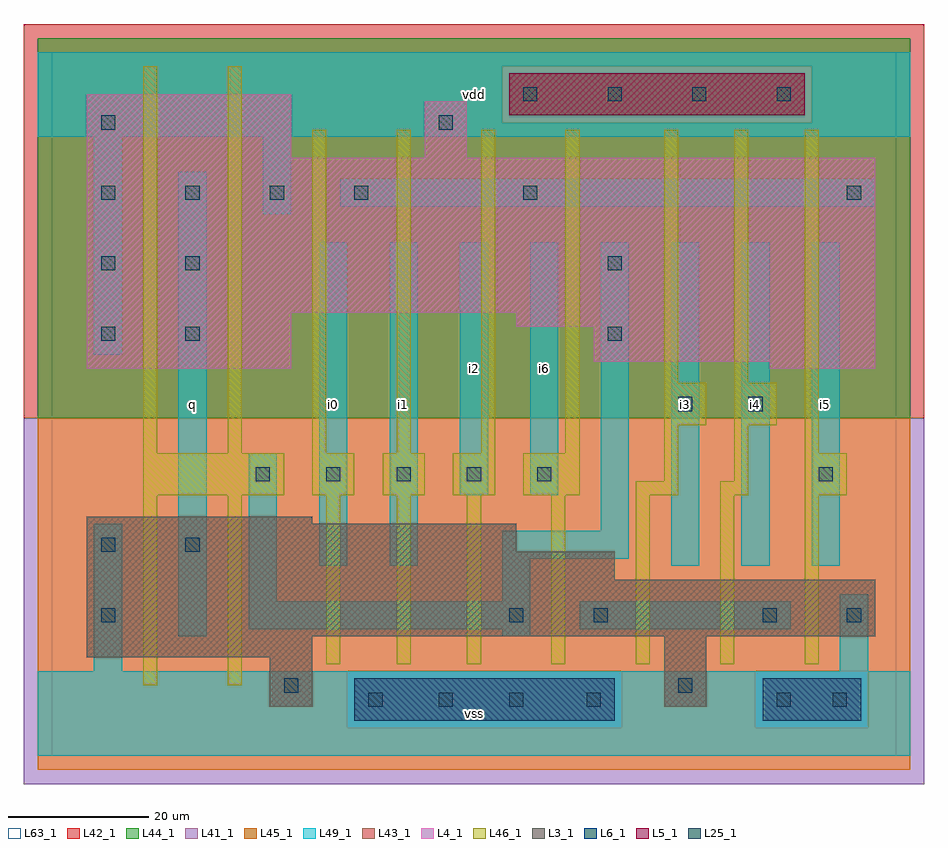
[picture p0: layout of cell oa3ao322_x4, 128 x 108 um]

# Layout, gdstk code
import gdstk
lib = gdstk.Library(unit=1e-6, precision=1e-09)
def R(c, l, rs):  # rectangles x0, y0, x1, y1
    for r in rs: c.add(gdstk.rectangle(r[:2], r[2:], *l))
def A(c, l, x, y, w, h, nx, ny, dx, dy):  # array of equal rectangles
    R(c, l, [(x+i*dx, y+j*dy, x+i*dx+w, y+j*dy+h) for i in range(nx) for j in range(ny)])
L3_1 = (3, 1)
L4_1 = (4, 1)
L5_1 = (5, 1)
L6_1 = (6, 1)
L25_1 = (25, 1)
L41_1 = (41, 1)
L42_1 = (42, 1)
L43_1 = (43, 1)
L44_1 = (44, 1)
L45_1 = (45, 1)
L46_1 = (46, 1)
L49_1 = (49, 1)
L63_1 = (63, 1)

oa3ao322_x4 = lib.new_cell('oa3ao322_x4')
R(oa3ao322_x4, L3_1, [(31,7,37,14), (87,7,93,17), (5,14,37,17), (5,17,117,25), (5,25,80,29), (5,29,66,33), (5,33,37,34)])
R(oa3ao322_x4, L4_1, [(5,55,34,63), (102,55,117,56), (77,56,117,61), (66,61,117,63), (5,63,117,85), (5,85,34,94), (53,85,59,93)])
R(oa3ao322_x4, L5_1, [(65,91,107,97)])
R(oa3ao322_x4, L6_1, [(43,5,80,11), (43,5,80,11), (101,5,115,11), (101,5,115,11)])
A(oa3ao322_x4, L25_1, 45, 7, 2, 2, 3, 1, 10, 0)
A(oa3ao322_x4, L25_1, 29, 39, 2, 2, 5, 1, 10, 0)
A(oa3ao322_x4, L25_1, 7, 79, 2, 2, 4, 1, 12, 0)
A(oa3ao322_x4, L25_1, 67, 93, 2, 2, 4, 1, 12, 0)
R(oa3ao322_x4, L25_1, [(76,7,78,9), (103,7,105,9), (111,7,113,9), (33,9,35,11), (89,9,91,11), (7,19,9,21), (65,19,67,21), (77,19,79,21), (101,19,103,21), (113,19,115,21), (7,29,9,31), (19,29,21,31), (109,39,111,41), (89,49,91,51), (99,49,101,51), (7,59,9,61), (19,59,21,61), (79,59,81,61), (7,69,9,71), (19,69,21,71), (79,69,81,71), (67,79,69,81), (113,79,115,81), (7,89,9,91), (55,89,57,91)])
R(oa3ao322_x4, L41_1, [(-4,-4,124,48)])
R(oa3ao322_x4, L42_1, [(-4,48,124,104)])
R(oa3ao322_x4, L43_1, [(43,5,80,11), (101,5,115,11), (31,7,37,14), (87,7,93,17), (5,14,37,17), (5,17,117,25), (5,25,80,29), (5,29,66,33), (5,33,37,34), (5,55,34,63), (102,55,117,56), (77,56,117,61), (66,61,117,63), (5,63,117,85), (5,85,34,94), (53,85,59,93), (65,91,107,97)])
R(oa3ao322_x4, L44_1, [(42,4,81,12), (100,4,116,12), (-2,48,122,90), (-2,90,64,98), (108,90,122,98), (-2,98,122,102)])
R(oa3ao322_x4, L45_1, [(-2,-2,122,4), (-2,4,42,12), (81,4,100,12), (116,4,122,12), (-2,12,122,48), (64,90,108,98)])
A(oa3ao322_x4, L46_1, 39, 13, 2, 24, 3, 1, 10, 0)
A(oa3ao322_x4, L46_1, 71, 13, 2, 24, 4, 1, 12, 0)
A(oa3ao322_x4, L46_1, 37, 37, 6, 6, 3, 1, 10, 0)
A(oa3ao322_x4, L46_1, 37, 43, 2, 46, 4, 1, 12, 0)
R(oa3ao322_x4, L46_1, [(13,10,15,37), (25,10,27,37), (13,37,33,43), (67,37,75,43), (83,37,89,39), (95,37,99,39), (107,37,113,43), (87,39,89,47), (97,39,99,47), (13,43,15,98), (25,43,27,98), (107,43,109,89), (87,47,93,53), (97,47,103,53), (87,53,89,89), (97,53,99,89)])
A(oa3ao322_x4, L49_1, 88, 27, 4, 46, 3, 1, 10, 0)
R(oa3ao322_x4, L49_1, [(-2,0,122,12), (6,12,10,33), (112,12,116,23), (18,17,22,83), (64,17,68,18), (28,18,68,22), (75,18,105,22), (28,22,32,43), (64,22,68,28), (38,27,42,73), (48,27,52,73), (64,28,82,32), (78,32,82,73), (58,37,62,73), (68,37,72,73), (6,57,10,88), (30,77,34,88), (41,78,117,82), (-2,88,122,100)])
R(oa3ao322_x4, L63_1, [(0,0,120,100)])
oa3ao322_x4.add(gdstk.Label('q', (20,50), layer=49, texttype=1))
oa3ao322_x4.add(gdstk.Label('i0', (40,50), layer=49, texttype=1))
oa3ao322_x4.add(gdstk.Label('vss', (60,6), layer=49, texttype=1))
oa3ao322_x4.add(gdstk.Label('i1', (50,50), layer=49, texttype=1))
oa3ao322_x4.add(gdstk.Label('i2', (60,55), layer=49, texttype=1))
oa3ao322_x4.add(gdstk.Label('vdd', (60,94), layer=49, texttype=1))
oa3ao322_x4.add(gdstk.Label('i6', (70,55), layer=49, texttype=1))
oa3ao322_x4.add(gdstk.Label('i3', (90,50), layer=49, texttype=1))
oa3ao322_x4.add(gdstk.Label('i4', (100,50), layer=49, texttype=1))
oa3ao322_x4.add(gdstk.Label('i5', (110,50), layer=49, texttype=1))

lib.write_gds('oa3ao322_x4.gds')
